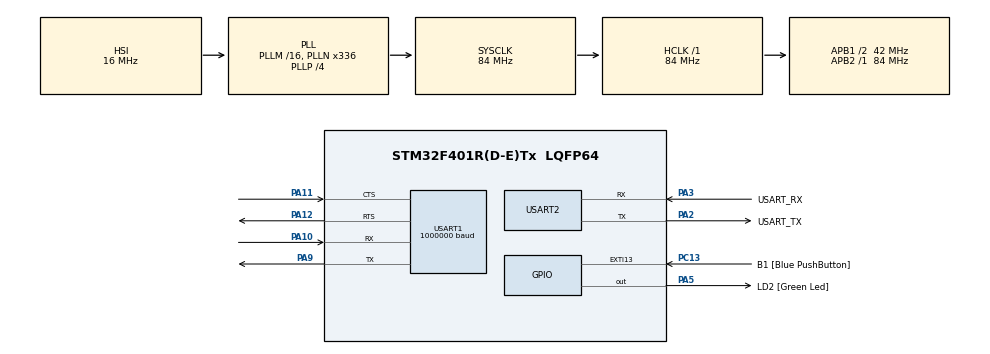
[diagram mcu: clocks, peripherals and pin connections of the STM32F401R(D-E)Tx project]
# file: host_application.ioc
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Mcu.Family=STM32F4
Mcu.Name=STM32F401R(D-E)Tx
Mcu.Package=LQFP64
NVIC.PriorityGroup=NVIC_PRIORITYGROUP_4
NVIC.TIM1_TRG_COM_TIM11_IRQn=true\:15\:0\:false\:false\:true\:false\:true\:true
NVIC.TimeBase=TIM1_TRG_COM_TIM11_IRQn
NVIC.TimeBaseIP=TIM11
PA10.Mode=Asynchronous
PA10.Signal=USART1_RX
PA11.Mode=CTS_RTS
PA11.Signal=USART1_CTS
PA12.Mode=CTS_RTS
PA12.Signal=USART1_RTS
PA13.GPIO_Label=TMS
PA13.Mode=Serial_Wire
PA13.Signal=SYS_JTMS-SWDIO
PA14.GPIO_Label=TCK
PA14.Mode=Serial_Wire
PA14.Signal=SYS_JTCK-SWCLK
PA2.GPIO_Label=USART_TX
PA2.GPIO_Mode=GPIO_MODE_AF_PP
PA2.GPIO_PuPd=GPIO_NOPULL
PA2.GPIO_Speed=GPIO_SPEED_FREQ_LOW
PA2.Mode=Asynchronous
PA2.Signal=USART2_TX
PA3.GPIO_Label=USART_RX
PA3.GPIO_Mode=GPIO_MODE_AF_PP
PA3.GPIO_PuPd=GPIO_NOPULL
PA3.GPIO_Speed=GPIO_SPEED_FREQ_LOW
PA3.Mode=Asynchronous
PA3.Signal=USART2_RX
PA5.GPIO_Label=LD2 [Green Led]
PA5.GPIO_Mode=GPIO_MODE_OUTPUT_PP
PA5.GPIO_PuPd=GPIO_NOPULL
PA5.GPIO_Speed=GPIO_SPEED_FREQ_LOW
PA5.Signal=GPIO_Output
PA9.Mode=Asynchronous
PA9.Signal=USART1_TX
PB3.GPIO_Label=SWO
PB3.Signal=SYS_JTDO-SWO
PC13-ANTI_TAMP.GPIO_Label=B1 [Blue PushButton]
PC13-ANTI_TAMP.GPIO_ModeDefaultEXTI=GPIO_MODE_IT_FALLING
PC13-ANTI_TAMP.GPIO_PuPd=GPIO_NOPULL
PC13-ANTI_TAMP.Signal=GPXTI13
PC14-OSC32_IN.Mode=LSE-External-Oscillator
PC14-OSC32_IN.Signal=RCC_OSC32_IN
PC15-OSC32_OUT.Mode=LSE-External-Oscillator
PC15-OSC32_OUT.Signal=RCC_OSC32_OUT
PH0\ -\ OSC_IN.Mode=HSE-External-Clock-Source
PH0\ -\ OSC_IN.Signal=RCC_OSC_IN
PH1\ -\ OSC_OUT.Mode=HSE-External-Clock-Source
PH1\ -\ OSC_OUT.Signal=RCC_OSC_OUT
ProjectManager.HeapSize=0x200
ProjectManager.StackSize=0x400
ProjectManager.TargetToolchain=STM32CubeIDE
RCC.48MHZClocksFreq_Value=48000000
RCC.AHBFreq_Value=84000000
RCC.APB1CLKDivider=RCC_HCLK_DIV2
RCC.APB1Freq_Value=42000000
RCC.APB1TimFreq_Value=84000000
RCC.APB2Freq_Value=84000000
RCC.APB2TimFreq_Value=84000000
RCC.CortexFreq_Value=84000000
RCC.HCLKFreq_Value=84000000
RCC.HSE_VALUE=8000000
RCC.HSI_VALUE=16000000
RCC.PLLN=336
RCC.PLLP=RCC_PLLP_DIV4
RCC.PLLQ=7
RCC.SYSCLKFreq_VALUE=84000000
RCC.SYSCLKSource=RCC_SYSCLKSOURCE_PLLCLK
RCC.VCOOutputFreq_Value=336000000
USART1.BaudRate=1000000
USART1.VirtualMode=VM_ASYNC
USART2.VirtualMode=VM_ASYNC
VP_SYS_VS_tim11.Mode=TIM11
board=NUCLEO-F401RE

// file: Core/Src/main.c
/* USER CODE BEGIN Header */
/**
  ******************************************************************************
  * @file           : main.c
  * @brief          : Main program body
  ******************************************************************************
  * @attention
  *
  * Copyright (c) 2023 STMicroelectronics.
  * All rights reserved.
  *
  * This software is licensed under terms that can be found in the LICENSE file
  * in the root directory of this software component.
  * If no LICENSE file comes with this software, it is provided AS-IS.
  *
  ******************************************************************************
  */
/* USER CODE END Header */
#include "main.h"

/* USER CODE BEGIN Includes */
#include "SEGGER_SYSVIEW.h"
#include "FreeRTOS.h"
#include "task.h"
/* USER CODE END Includes */

UART_HandleTypeDef huart1;
UART_HandleTypeDef huart2;

/* USER CODE BEGIN PV */
static TaskHandle_t initTask = NULL;
static void initRun(void *pvParam);
/* USER CODE END PV */

void SystemClock_Config(void);
static void MX_GPIO_Init(void);
static void MX_USART2_UART_Init(void);
static void MX_USART1_UART_Init(void);

int main(void)
{

  /* MCU Configuration--------------------------------------------------------*/

  /* Reset of all peripherals, Initializes the Flash interface and the Systick. */
  HAL_Init();

  /* Configure the system clock */
  SystemClock_Config();

  /* Initialize all configured peripherals */
  MX_GPIO_Init();
  MX_USART2_UART_Init();
  MX_USART1_UART_Init();
  /* USER CODE BEGIN 2 */
#if CONFIG_SYSTEMVIEW
    SEGGER_SYSVIEW_Conf();
#endif
    xTaskCreate(initRun, "Init task", 512, NULL, INIT_TASK_PRIO, &initTask);
    vTaskStartScheduler();
  /* USER CODE END 2 */

  /* Infinite loop */
  while (1)
  {

  }
}

void SystemClock_Config(void)
{
  RCC_OscInitTypeDef RCC_OscInitStruct = {0};
  RCC_ClkInitTypeDef RCC_ClkInitStruct = {0};

  /** Configure the main internal regulator output voltage
  */
  __HAL_RCC_PWR_CLK_ENABLE();
  __HAL_PWR_VOLTAGESCALING_CONFIG(PWR_REGULATOR_VOLTAGE_SCALE2);

  /** Initializes the RCC Oscillators according to the specified parameters
  * in the RCC_OscInitTypeDef structure.
  */
  RCC_OscInitStruct.OscillatorType = RCC_OSCILLATORTYPE_HSI;
  RCC_OscInitStruct.HSIState = RCC_HSI_ON;
  RCC_OscInitStruct.HSICalibrationValue = RCC_HSICALIBRATION_DEFAULT;
  RCC_OscInitStruct.PLL.PLLState = RCC_PLL_ON;
  RCC_OscInitStruct.PLL.PLLSource = RCC_PLLSOURCE_HSI;
  RCC_OscInitStruct.PLL.PLLM = 16;
  RCC_OscInitStruct.PLL.PLLN = 336;
  RCC_OscInitStruct.PLL.PLLP = RCC_PLLP_DIV4;
  RCC_OscInitStruct.PLL.PLLQ = 7;
  if (HAL_RCC_OscConfig(&RCC_OscInitStruct) != HAL_OK)
  {
    Error_Handler();
  }

  /** Initializes the CPU, AHB and APB buses clocks
  */
  RCC_ClkInitStruct.ClockType = RCC_CLOCKTYPE_HCLK|RCC_CLOCKTYPE_SYSCLK
                              |RCC_CLOCKTYPE_PCLK1|RCC_CLOCKTYPE_PCLK2;
  RCC_ClkInitStruct.SYSCLKSource = RCC_SYSCLKSOURCE_PLLCLK;
  RCC_ClkInitStruct.AHBCLKDivider = RCC_SYSCLK_DIV1;
  RCC_ClkInitStruct.APB1CLKDivider = RCC_HCLK_DIV2;
  RCC_ClkInitStruct.APB2CLKDivider = RCC_HCLK_DIV1;

  if (HAL_RCC_ClockConfig(&RCC_ClkInitStruct, FLASH_LATENCY_2) != HAL_OK)
  {
    Error_Handler();
  }
}

static void MX_USART1_UART_Init(void)
{

  huart1.Instance = USART1;
  huart1.Init.BaudRate = 1000000;
  huart1.Init.WordLength = UART_WORDLENGTH_8B;
  huart1.Init.StopBits = UART_STOPBITS_1;
  huart1.Init.Parity = UART_PARITY_NONE;
  huart1.Init.Mode = UART_MODE_TX_RX;
  huart1.Init.HwFlowCtl = UART_HWCONTROL_RTS_CTS;
  huart1.Init.OverSampling = UART_OVERSAMPLING_16;
  if (HAL_UART_Init(&huart1) != HAL_OK)
  {
    Error_Handler();
  }

}

static void MX_USART2_UART_Init(void)
{

  huart2.Instance = USART2;
  huart2.Init.BaudRate = 115200;
  huart2.Init.WordLength = UART_WORDLENGTH_8B;
  huart2.Init.StopBits = UART_STOPBITS_1;
  huart2.Init.Parity = UART_PARITY_NONE;
  huart2.Init.Mode = UART_MODE_TX_RX;
  huart2.Init.HwFlowCtl = UART_HWCONTROL_NONE;
  huart2.Init.OverSampling = UART_OVERSAMPLING_16;
  if (HAL_UART_Init(&huart2) != HAL_OK)
  {
    Error_Handler();
  }

}

static void MX_GPIO_Init(void)
{
  GPIO_InitTypeDef GPIO_InitStruct = {0};

  /* GPIO Ports Clock Enable */
  __HAL_RCC_GPIOC_CLK_ENABLE();
  __HAL_RCC_GPIOH_CLK_ENABLE();
  __HAL_RCC_GPIOA_CLK_ENABLE();
  __HAL_RCC_GPIOB_CLK_ENABLE();

  /*Configure GPIO pin Output Level */
  HAL_GPIO_WritePin(LD2_GPIO_Port, LD2_Pin, GPIO_PIN_RESET);

  /*Configure GPIO pin : B1_Pin */
  GPIO_InitStruct.Pin = B1_Pin;
  GPIO_InitStruct.Mode = GPIO_MODE_IT_FALLING;
  GPIO_InitStruct.Pull = GPIO_NOPULL;
  HAL_GPIO_Init(B1_GPIO_Port, &GPIO_InitStruct);

  /*Configure GPIO pin : LD2_Pin */
  GPIO_InitStruct.Pin = LD2_Pin;
  GPIO_InitStruct.Mode = GPIO_MODE_OUTPUT_PP;
  GPIO_InitStruct.Pull = GPIO_NOPULL;
  GPIO_InitStruct.Speed = GPIO_SPEED_FREQ_LOW;
  HAL_GPIO_Init(LD2_GPIO_Port, &GPIO_InitStruct);

}

/* USER CODE BEGIN 4 */
static void initRun(void *pvParam)
{
	while(1)
	{
		printf("Hello\n");
		vTaskDelay(pdMS_TO_TICKS(1000));
	}
}

void vApplicationStackOverflowHook(TaskHandle_t xTask, char *pcTaskName)
{
    /* Run time stack overflow checking is performed if
     configCHECK_FOR_STACK_OVERFLOW is defined to 1 or 2. This hook function is
     called if a stack overflow is detected. */
#ifdef DEBUG
    while(1)
    {
    }
#endif
}

void vApplicationMallocFailedHook(void)
{
    /* vApplicationMallocFailedHook() will only be called if
     configUSE_MALLOC_FAILED_HOOK is set to 1 in FreeRTOSConfig.h. It is a hook
     function that will get called if a call to pvPortMalloc() fails.
     pvPortMalloc() is called internally by the kernel whenever a task, queue,
     timer or semaphore is created. It is also called by various parts of the
     demo application. If heap_1.c or heap_2.c are used, then the size of the
     heap available to pvPortMalloc() is defined by configTOTAL_HEAP_SIZE in
     FreeRTOSConfig.h, and the xPortGetFreeHeapSize() API function can be used
     to query the size of free heap space that remains (although it does not
     provide information on how the remaining heap might be fragmented). */
#ifdef DEBUG
    while(1)
    {
    }
#endif
}
/* USER CODE END 4 */

void HAL_TIM_PeriodElapsedCallback(TIM_HandleTypeDef *htim)
{
  if (htim->Instance == TIM11) {
    HAL_IncTick();
  }
}

void Error_Handler(void)
{
  __disable_irq();
  while (1)
  {
  }
}
